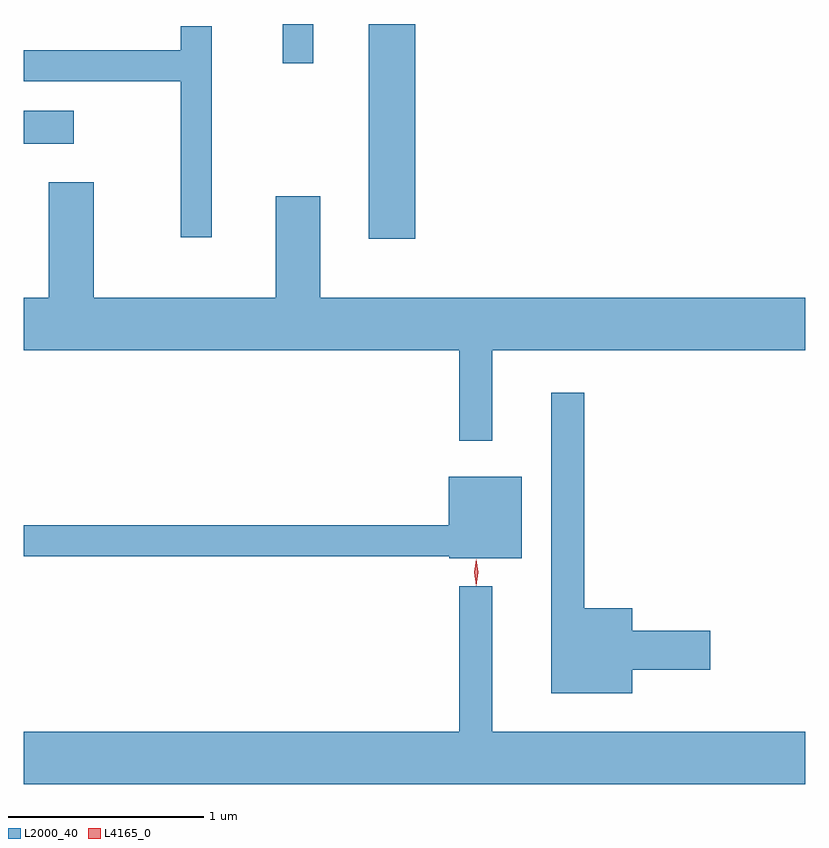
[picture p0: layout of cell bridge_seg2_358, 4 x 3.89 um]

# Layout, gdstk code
import gdstk
lib = gdstk.Library(unit=1e-6, precision=1e-09)
def R(c, l, rs):  # rectangles x0, y0, x1, y1
    for r in rs: c.add(gdstk.rectangle(r[:2], r[2:], *l))
def P(c, l, *ps):  # polygons
    for p in ps: c.add(gdstk.Polygon(p, *l))
L2000_40 = (2000, 40)
L4165_0 = (4165, 0)

bridge_seg2_358 = lib.new_cell('bridge_seg2_358')
R(bridge_seg2_358, L2000_40, [(547.516,1006.706,547.754,1007.804), (545.751,1007.191,546.008,1007.359), (547.076,1007.603,547.234,1007.804)])
P(bridge_seg2_358, L2000_40, [(546.714,1007.793),(546.556,1007.793),(546.556,1007.669),(545.751,1007.669),(545.751,1007.511),(546.556,1007.511),(546.556,1006.713),(546.714,1006.713)],
  [(548.149,1006.136),(549.751,1006.136),(549.751,1006.404),(547.269,1006.404),(547.269,1006.924),(547.041,1006.924),(547.041,1006.404),(546.109,1006.404),(546.109,1006.994),(545.881,1006.994),(545.881,1006.404),(545.751,1006.404),(545.751,1006.136),(547.981,1006.136),(547.981,1005.673),(548.149,1005.673)],
  [(548.864,1004.501),(549.264,1004.501),(549.264,1004.699),(548.864,1004.699),(548.864,1004.814),(548.619,1004.814),(548.619,1005.918),(548.451,1005.918),(548.451,1004.381),(548.864,1004.381)],
  [(548.299,1005.489),(547.926,1005.489),(547.926,1005.239),(545.751,1005.239),(545.751,1005.081),(547.93,1005.081),(547.93,1005.071),(548.299,1005.071)],
  [(549.751,1004.184),(548.149,1004.184),(548.149,1004.928),(547.981,1004.928),(547.981,1004.184),(545.751,1004.184),(545.751,1003.916),(549.751,1003.916)])
P(bridge_seg2_358, L4165_0, [(548.067,1004.93),(548.066,1004.931),(548.057,1004.998),(548.066,1005.066),(548.067,1005.066),(548.067,1005.066),(548.077,1004.998),(548.067,1004.931)])

lib.write_gds('bridge_seg2_358.gds')
